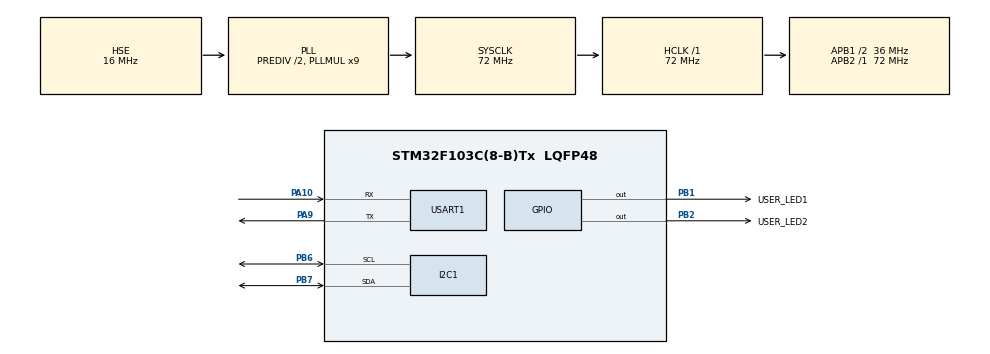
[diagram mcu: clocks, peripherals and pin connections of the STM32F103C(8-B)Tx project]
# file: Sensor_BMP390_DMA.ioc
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Dma.I2C1_RX.0.Direction=DMA_PERIPH_TO_MEMORY
Dma.I2C1_RX.0.Instance=DMA1_Channel7
Dma.I2C1_RX.0.MemDataAlignment=DMA_MDATAALIGN_BYTE
Dma.I2C1_RX.0.MemInc=DMA_MINC_ENABLE
Dma.I2C1_RX.0.Mode=DMA_NORMAL
Dma.I2C1_RX.0.PeriphDataAlignment=DMA_PDATAALIGN_BYTE
Dma.I2C1_RX.0.PeriphInc=DMA_PINC_DISABLE
Dma.I2C1_RX.0.Priority=DMA_PRIORITY_LOW
Dma.Request0=I2C1_RX
I2C1.I2C_Mode=I2C_Fast
Mcu.Family=STM32F1
Mcu.Name=STM32F103C(8-B)Tx
Mcu.Package=LQFP48
NVIC.DMA1_Channel7_IRQn=true\:0\:0\:false\:false\:true\:false\:true\:true
NVIC.PriorityGroup=NVIC_PRIORITYGROUP_4
PA10.Mode=Asynchronous
PA10.Signal=USART1_RX
PA13.Mode=Serial_Wire
PA13.Signal=SYS_JTMS-SWDIO
PA14.Mode=Serial_Wire
PA14.Signal=SYS_JTCK-SWCLK
PA9.Mode=Asynchronous
PA9.Signal=USART1_TX
PB1.GPIO_Label=USER_LED1
PB1.Signal=GPIO_Output
PB2.GPIO_Label=USER_LED2
PB2.Signal=GPIO_Output
PB6.Mode=I2C
PB6.Signal=I2C1_SCL
PB7.Mode=I2C
PB7.Signal=I2C1_SDA
PD0-OSC_IN.Mode=HSE-External-Oscillator
PD0-OSC_IN.Signal=RCC_OSC_IN
PD1-OSC_OUT.Mode=HSE-External-Oscillator
PD1-OSC_OUT.Signal=RCC_OSC_OUT
ProjectManager.HeapSize=0x1000
ProjectManager.StackSize=0x1500
ProjectManager.TargetToolchain=CMake
RCC.AHBFreq_Value=72000000
RCC.APB1CLKDivider=RCC_HCLK_DIV2
RCC.APB1Freq_Value=36000000
RCC.APB1TimFreq_Value=72000000
RCC.APB2Freq_Value=72000000
RCC.APB2TimFreq_Value=72000000
RCC.HCLKFreq_Value=72000000
RCC.HSEDivPLL=RCC_HSE_PREDIV_DIV2
RCC.HSE_VALUE=16000000
RCC.PLLMUL=RCC_PLL_MUL9
RCC.PLLSourceVirtual=RCC_PLLSOURCE_HSE
RCC.SYSCLKFreq_VALUE=72000000
RCC.SYSCLKSource=RCC_SYSCLKSOURCE_PLLCLK
RCC.USBFreq_Value=48000000
RCC.USBPrescaler=RCC_USBCLKSOURCE_PLL_DIV1_5
USART1.VirtualMode=VM_ASYNC
board=custom

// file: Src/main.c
/* USER CODE BEGIN Header */
/**
 ******************************************************************************
 * @file           : main.c
 * @brief          : Main program body
 ******************************************************************************
 * @attention
 *
 * Copyright (c) 2025 STMicroelectronics.
 * All rights reserved.
 *
 * This software is licensed under terms that can be found in the LICENSE file
 * in the root directory of this software component.
 * If no LICENSE file comes with this software, it is provided AS-IS.
 *
 ******************************************************************************
 */
/* USER CODE END Header */
#include "main.h"

/* USER CODE BEGIN Includes */
#include <stdio.h>
#include "bmp390.h"
#include "banner.h"
/* USER CODE END Includes */

I2C_HandleTypeDef hi2c1;
DMA_HandleTypeDef hdma_i2c1_rx;

UART_HandleTypeDef huart1;

void SystemClock_Config(void);
static void MX_GPIO_Init(void);
static void MX_DMA_Init(void);
static void MX_I2C1_Init(void);
static void MX_USART1_UART_Init(void);
/* USER CODE BEGIN PFP */
#define PUTCHAR_PROTOTYPE int __io_putchar(int ch)
/* USER CODE END PFP */

int main(void)
{

  /* MCU Configuration--------------------------------------------------------*/

  /* Reset of all peripherals, Initializes the Flash interface and the Systick. */
  HAL_Init();

  /* Configure the system clock */
  SystemClock_Config();

  /* Initialize all configured peripherals */
  MX_GPIO_Init();
  MX_DMA_Init();
  MX_I2C1_Init();
  MX_USART1_UART_Init();
  /* USER CODE BEGIN 2 */

  printf("\033[2J");

  printf("\033[H");

  printf(BANNER_TEXT);

  BMP390_Init(&hi2c1);

  uint8_t i2c_rx_buffer[6] = {0};
  uint8_t i2c_rx_buffer2[6] = {0};

  /* USER CODE END 2 */

  /* Infinite loop */
  /* USER CODE BEGIN WHILE */

  float pressure = 0;
  float temperature = 0;

  // give the sensor time to start up
  HAL_Delay(500);

  while (1)
  {
    HAL_GPIO_TogglePin(USER_LED1_GPIO_Port, USER_LED1_Pin);

    // BMP390_ReadPressureAndTemperature(&pressure, &temperature);

    // printf("Pressure: %d, Temperature: %d\n\r", (int) pressure, (int) temperature);

    BMP390_ReadPressureAndTemperature_DMA();

    HAL_Delay(1000);

    continue;

    /* USER CODE END WHILE */

  }
}

void SystemClock_Config(void)
{
  RCC_OscInitTypeDef RCC_OscInitStruct = {0};
  RCC_ClkInitTypeDef RCC_ClkInitStruct = {0};

  /** Initializes the RCC Oscillators according to the specified parameters
  * in the RCC_OscInitTypeDef structure.
  */
  RCC_OscInitStruct.OscillatorType = RCC_OSCILLATORTYPE_HSE;
  RCC_OscInitStruct.HSEState = RCC_HSE_ON;
  RCC_OscInitStruct.HSEPredivValue = RCC_HSE_PREDIV_DIV2;
  RCC_OscInitStruct.HSIState = RCC_HSI_ON;
  RCC_OscInitStruct.PLL.PLLState = RCC_PLL_ON;
  RCC_OscInitStruct.PLL.PLLSource = RCC_PLLSOURCE_HSE;
  RCC_OscInitStruct.PLL.PLLMUL = RCC_PLL_MUL9;
  if (HAL_RCC_OscConfig(&RCC_OscInitStruct) != HAL_OK)
  {
    Error_Handler();
  }

  /** Initializes the CPU, AHB and APB buses clocks
  */
  RCC_ClkInitStruct.ClockType = RCC_CLOCKTYPE_HCLK|RCC_CLOCKTYPE_SYSCLK
                              |RCC_CLOCKTYPE_PCLK1|RCC_CLOCKTYPE_PCLK2;
  RCC_ClkInitStruct.SYSCLKSource = RCC_SYSCLKSOURCE_PLLCLK;
  RCC_ClkInitStruct.AHBCLKDivider = RCC_SYSCLK_DIV1;
  RCC_ClkInitStruct.APB1CLKDivider = RCC_HCLK_DIV2;
  RCC_ClkInitStruct.APB2CLKDivider = RCC_HCLK_DIV1;

  if (HAL_RCC_ClockConfig(&RCC_ClkInitStruct, FLASH_LATENCY_2) != HAL_OK)
  {
    Error_Handler();
  }
}

static void MX_I2C1_Init(void)
{

  hi2c1.Instance = I2C1;
  hi2c1.Init.ClockSpeed = 400000;
  hi2c1.Init.DutyCycle = I2C_DUTYCYCLE_2;
  hi2c1.Init.OwnAddress1 = 0;
  hi2c1.Init.AddressingMode = I2C_ADDRESSINGMODE_7BIT;
  hi2c1.Init.DualAddressMode = I2C_DUALADDRESS_DISABLE;
  hi2c1.Init.OwnAddress2 = 0;
  hi2c1.Init.GeneralCallMode = I2C_GENERALCALL_DISABLE;
  hi2c1.Init.NoStretchMode = I2C_NOSTRETCH_DISABLE;
  if (HAL_I2C_Init(&hi2c1) != HAL_OK)
  {
    Error_Handler();
  }

}

static void MX_USART1_UART_Init(void)
{

  huart1.Instance = USART1;
  huart1.Init.BaudRate = 115200;
  huart1.Init.WordLength = UART_WORDLENGTH_8B;
  huart1.Init.StopBits = UART_STOPBITS_1;
  huart1.Init.Parity = UART_PARITY_NONE;
  huart1.Init.Mode = UART_MODE_TX_RX;
  huart1.Init.HwFlowCtl = UART_HWCONTROL_NONE;
  huart1.Init.OverSampling = UART_OVERSAMPLING_16;
  if (HAL_UART_Init(&huart1) != HAL_OK)
  {
    Error_Handler();
  }

}

static void MX_DMA_Init(void)
{

  /* DMA controller clock enable */
  __HAL_RCC_DMA1_CLK_ENABLE();

  /* DMA interrupt init */
  /* DMA1_Channel7_IRQn interrupt configuration */
  HAL_NVIC_SetPriority(DMA1_Channel7_IRQn, 0, 0);
  HAL_NVIC_EnableIRQ(DMA1_Channel7_IRQn);

}

static void MX_GPIO_Init(void)
{
  GPIO_InitTypeDef GPIO_InitStruct = {0};

  /* GPIO Ports Clock Enable */
  __HAL_RCC_GPIOD_CLK_ENABLE();
  __HAL_RCC_GPIOB_CLK_ENABLE();
  __HAL_RCC_GPIOA_CLK_ENABLE();

  /*Configure GPIO pin Output Level */
  HAL_GPIO_WritePin(GPIOB, USER_LED1_Pin|USER_LED2_Pin, GPIO_PIN_RESET);

  /*Configure GPIO pins : USER_LED1_Pin USER_LED2_Pin */
  GPIO_InitStruct.Pin = USER_LED1_Pin|USER_LED2_Pin;
  GPIO_InitStruct.Mode = GPIO_MODE_OUTPUT_PP;
  GPIO_InitStruct.Pull = GPIO_NOPULL;
  GPIO_InitStruct.Speed = GPIO_SPEED_FREQ_LOW;
  HAL_GPIO_Init(GPIOB, &GPIO_InitStruct);

}

/* USER CODE BEGIN 4 */
/**
 * @brief  Retargets the C library printf function to the USART.
 *   None
 * @retval None
 */
PUTCHAR_PROTOTYPE
{
  /* Place your implementation of fputc here */
  /* e.g. write a character to the USART1 and Loop until the end of transmission */
  HAL_UART_Transmit(&huart1, (uint8_t *)&ch, 1, 0xFFFF);

  return ch;
}
/* USER CODE END 4 */

void Error_Handler(void)
{
  __disable_irq();
  while (1)
  {
  }
}
